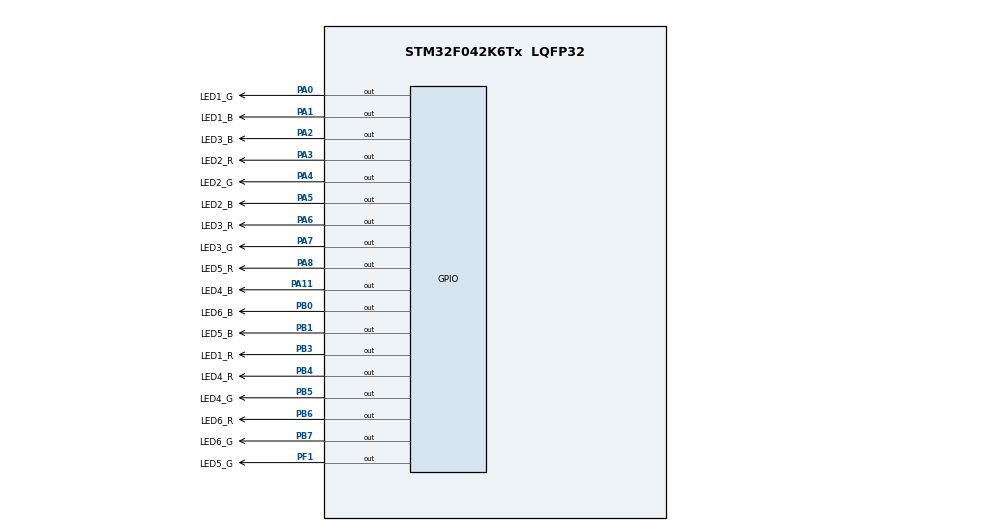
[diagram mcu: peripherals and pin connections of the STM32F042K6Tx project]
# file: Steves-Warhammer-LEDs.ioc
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Mcu.Family=STM32F0
Mcu.Name=STM32F042K6Tx
Mcu.Package=LQFP32
PA0.GPIO_Label=LED1_G
PA0.Signal=GPIO_Output
PA1.GPIO_Label=LED1_B
PA1.Signal=GPIO_Output
PA11.GPIO_Label=LED4_B
PA11.Signal=GPIO_Output
PA13.GPIO_Label=SWDIO
PA13.Signal=SYS_SWDIO
PA14.GPIO_Label=SWCLK
PA14.Signal=SYS_SWCLK
PA15.GPIO_Label=VCP_RX
PA15.Signal=USART2_RX
PA2.GPIO_Label=LED3_B
PA2.Signal=GPIO_Output
PA3.GPIO_Label=LED2_R
PA3.Signal=GPIO_Output
PA4.GPIO_Label=LED2_G
PA4.Signal=GPIO_Output
PA5.GPIO_Label=LED2_B
PA5.Signal=GPIO_Output
PA6.GPIO_Label=LED3_R
PA6.Signal=GPIO_Output
PA7.GPIO_Label=LED3_G
PA7.Signal=GPIO_Output
PA8.GPIO_Label=LED5_R
PA8.Signal=GPIO_Output
PB0.GPIO_Label=LED6_B
PB0.Signal=GPIO_Output
PB1.GPIO_Label=LED5_B
PB1.Signal=GPIO_Output
PB3.GPIO_Label=LED1_R
PB3.Signal=GPIO_Output
PB4.GPIO_Label=LED4_R
PB4.Signal=GPIO_Output
PB5.GPIO_Label=LED4_G
PB5.Signal=GPIO_Output
PB6.GPIO_Label=LED6_R
PB6.Signal=GPIO_Output
PB7.GPIO_Label=LED6_G
PB7.Signal=GPIO_Output
PF0-OSC_IN.GPIO_Label=MCO
PF0-OSC_IN.Signal=RCC_OSC_IN
PF1-OSC_OUT.GPIO_Label=LED5_G
PF1-OSC_OUT.Signal=GPIO_Output
ProjectManager.HeapSize=0x200
ProjectManager.StackSize=0x400
ProjectManager.TargetToolchain=MDK-ARM V5
board=NUCLEO-F042K6

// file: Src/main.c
/**
  ******************************************************************************
  * File Name          : main.c
  * Description        : Main program body
  ******************************************************************************
  ** This notice applies to any and all portions of this file
  * that are not between comment pairs USER CODE BEGIN and
  * USER CODE END. Other portions of this file, whether
  * inserted by the user or by software development tools
  * are owned by their respective copyright owners.
  *
  * COPYRIGHT(c) 2019 STMicroelectronics
  *
  * Redistribution and use in source and binary forms, with or without modification,
  * are permitted provided that the following conditions are met:
  *   1. Redistributions of source code must retain the above copyright notice,
  *      this list of conditions and the following disclaimer.
  *   2. Redistributions in binary form must reproduce the above copyright notice,
  *      this list of conditions and the following disclaimer in the documentation
  *      and/or other materials provided with the distribution.
  *   3. Neither the name of STMicroelectronics nor the names of its contributors
  *      may be used to endorse or promote products derived from this software
  *      without specific prior written permission.
  *
  * THIS SOFTWARE IS PROVIDED BY THE COPYRIGHT HOLDERS AND CONTRIBUTORS "AS IS"
  * AND ANY EXPRESS OR IMPLIED WARRANTIES, INCLUDING, BUT NOT LIMITED TO, THE
  * IMPLIED WARRANTIES OF MERCHANTABILITY AND FITNESS FOR A PARTICULAR PURPOSE ARE
  * DISCLAIMED. IN NO EVENT SHALL THE COPYRIGHT HOLDER OR CONTRIBUTORS BE LIABLE
  * FOR ANY DIRECT, INDIRECT, INCIDENTAL, SPECIAL, EXEMPLARY, OR CONSEQUENTIAL
  * DAMAGES (INCLUDING, BUT NOT LIMITED TO, PROCUREMENT OF SUBSTITUTE GOODS OR
  * SERVICES; LOSS OF USE, DATA, OR PROFITS; OR BUSINESS INTERRUPTION) HOWEVER
  * CAUSED AND ON ANY THEORY OF LIABILITY, WHETHER IN CONTRACT, STRICT LIABILITY,
  * OR TORT (INCLUDING NEGLIGENCE OR OTHERWISE) ARISING IN ANY WAY OUT OF THE USE
  * OF THIS SOFTWARE, EVEN IF ADVISED OF THE POSSIBILITY OF SUCH DAMAGE.
  *
  ******************************************************************************
  */
#include "main.h"
#include "stm32f0xx_hal.h"
#include "gpio.h"

/* USER CODE BEGIN Includes */
#include <stdlib.h>
#include <string.h>
#include <time.h>

/* USER CODE END Includes */

/* USER CODE BEGIN PV */
/* Private variables ---------------------------------------------------------*/
#define PERIOD_MIN 100			// minimum period in milliseconds
#define PERIOD_MAX 600			// maximum period in milliseconds

uint32_t tickNow;						// global access to tick count

typedef enum stateLed1
{
	LED1_R,
	LED1_G,
	LED1_B
} stateLed1_t;
stateLed1_t stateLed1 = LED1_R;

typedef enum stateLed2
{
	LED2_R,
	LED2_G,
	LED2_B
} stateLed2_t;
stateLed2_t stateLed2 = LED2_R;

typedef enum stateLed3
{
	LED3_R,
	LED3_G,
	LED3_B
} stateLed3_t;
stateLed3_t stateLed3 = LED3_R;

typedef enum stateLed4
{
	LED4_R,
	LED4_G,
	LED4_B
} stateLed4_t;
stateLed4_t stateLed4 = LED4_R;

typedef enum stateLed5
{
	LED5_R,
	LED5_G,
	LED5_B
} stateLed5_t;
stateLed5_t stateLed5 = LED5_R;

typedef enum stateLed6
{
	LED6_R,
	LED6_G,
	LED6_B
} stateLed6_t;
stateLed6_t stateLed6 = LED6_R;

/* USER CODE END PV */

void SystemClock_Config(void);

/* USER CODE BEGIN PFP */
/* Private function prototypes -----------------------------------------------*/
uint32_t GenerateRandomNumber(void);
void led1Handler(void);
void led2Handler(void);
void led3Handler(void);
void led4Handler(void);
void led5Handler(void);
void led6Handler(void);

/* USER CODE END PFP */

int main(void)
{

  /* MCU Configuration----------------------------------------------------------*/

  /* Reset of all peripherals, Initializes the Flash interface and the Systick. */
  HAL_Init();

  /* Configure the system clock */
  SystemClock_Config();

  /* Initialize all configured peripherals */
  MX_GPIO_Init();

  /* USER CODE BEGIN 2 */
	srand(10); // randomize seed

  /* USER CODE END 2 */

  /* Infinite loop */
  /* USER CODE BEGIN WHILE */
  while (1)
  {
		// get the tick count
		tickNow = HAL_GetTick();
		// service LED 1 state machine
		led1Handler();
		led2Handler();
		led3Handler();
		led4Handler();
		led5Handler();
		led6Handler();

  /* USER CODE END WHILE */

  }

}

/** System Clock Configuration
*/
void SystemClock_Config(void)
{

  RCC_OscInitTypeDef RCC_OscInitStruct;
  RCC_ClkInitTypeDef RCC_ClkInitStruct;

    /**Initializes the CPU, AHB and APB busses clocks
    */
  RCC_OscInitStruct.OscillatorType = RCC_OSCILLATORTYPE_HSI;
  RCC_OscInitStruct.HSIState = RCC_HSI_ON;
  RCC_OscInitStruct.HSICalibrationValue = 16;
  RCC_OscInitStruct.PLL.PLLState = RCC_PLL_NONE;
  if (HAL_RCC_OscConfig(&RCC_OscInitStruct) != HAL_OK)
  {
    _Error_Handler(__FILE__, __LINE__);
  }

    /**Initializes the CPU, AHB and APB busses clocks
    */
  RCC_ClkInitStruct.ClockType = RCC_CLOCKTYPE_HCLK|RCC_CLOCKTYPE_SYSCLK
                              |RCC_CLOCKTYPE_PCLK1;
  RCC_ClkInitStruct.SYSCLKSource = RCC_SYSCLKSOURCE_HSI;
  RCC_ClkInitStruct.AHBCLKDivider = RCC_SYSCLK_DIV1;
  RCC_ClkInitStruct.APB1CLKDivider = RCC_HCLK_DIV1;

  if (HAL_RCC_ClockConfig(&RCC_ClkInitStruct, FLASH_LATENCY_0) != HAL_OK)
  {
    _Error_Handler(__FILE__, __LINE__);
  }

    /**Configure the Systick interrupt time
    */
  HAL_SYSTICK_Config(HAL_RCC_GetHCLKFreq()/1000);

    /**Configure the Systick
    */
  HAL_SYSTICK_CLKSourceConfig(SYSTICK_CLKSOURCE_HCLK);

  /* SysTick_IRQn interrupt configuration */
  HAL_NVIC_SetPriority(SysTick_IRQn, 0, 0);
}

/* USER CODE BEGIN 4 */

// generates a pseudo-random number in the range PERIOD_MIN to PERIOD_MAX
uint32_t GenerateRandomNumber(void)
{
	// take a random number in the range 0 -> 0x7fffffff
	uint32_t x = rand();
	// convert to the desired scale
	x = (x / (RAND_MAX / (PERIOD_MAX - PERIOD_MIN))) + PERIOD_MIN;
	return x;
}
 // state handler for LED1
void led1Handler(void)
{
	switch(stateLed1)
		{
			static uint8_t frist = 0;					// first pass flag
			static uint32_t tickWas = 0;			// sysTick at the last transition
			static uint32_t period = 0;				// random period

			case LED1_R:
			{
				// if this is the first pass through this state
				if(frist)
				{
					period = GenerateRandomNumber();
					HAL_GPIO_WritePin(LED1_R_GPIO_Port, LED1_R_Pin, GPIO_PIN_SET);
					tickWas = tickNow;
					frist = 0;
				}
				// otherwise wait until the assigned random period has elapsed and decide which colour is next
				if((tickNow - tickWas) > period)
				{
					HAL_GPIO_WritePin(LED1_R_GPIO_Port, LED1_R_Pin, GPIO_PIN_RESET);
					if(period < 550)
					{
						stateLed1 = LED1_G;
						frist = 1;
					}
					else
					{
						stateLed1 = LED1_B;
						frist = 1;
					}
				}
			break;
			}

			case LED1_G:
			{
				// if this is the first pass through this state
				if(frist)
				{
					period = GenerateRandomNumber();
					HAL_GPIO_WritePin(LED1_G_GPIO_Port, LED1_G_Pin, GPIO_PIN_SET);
					tickWas = tickNow;
					frist = 0;
				}
				// otherwise wait until the assigned random period has elapsed and decide which colour is next
				if((tickNow - tickWas) > period)
				{
					HAL_GPIO_WritePin(LED1_G_GPIO_Port, LED1_G_Pin, GPIO_PIN_RESET);
					if(period < 550)
					{
						stateLed1 = LED1_R;
						frist = 1;
					}
					else
					{
						stateLed1 = LED1_B;
						frist = 1;
					}
				}
				break;

			}
			case LED1_B:
			{
				// if this is the first pass through this state
				if(frist)
				{
					period = GenerateRandomNumber();
					HAL_GPIO_WritePin(LED1_B_GPIO_Port, LED1_B_Pin, GPIO_PIN_SET);
					tickWas = tickNow;
					frist = 0;
				}
				// otherwise wait until the assigned random period has elapsed and decide which colour is next
				if((tickNow - tickWas) > period)
				{
					HAL_GPIO_WritePin(LED1_B_GPIO_Port, LED1_B_Pin, GPIO_PIN_RESET);
					if(period < 550)
					{
						stateLed1 = LED1_R;
						frist = 1;
					}
					else
					{
						stateLed1 = LED1_G;
						frist = 1;
					}
				}
				break;
			}

			default:
			{
				while(1);
			}
		}
}

void led2Handler(void)
{
	switch(stateLed2)
		{
			static uint8_t frist = 0;					// first pass flag
			static uint32_t tickWas = 0;			// sysTick at the last transition
			static uint32_t period = 0;				// random period

			case LED2_R:
			{
				// if this is the first pass through this state
				if(frist)
				{
					period = GenerateRandomNumber();
					HAL_GPIO_WritePin(LED2_R_GPIO_Port, LED2_R_Pin, GPIO_PIN_SET);
					tickWas = tickNow;
					frist = 0;
				}
				// otherwise wait until the assigned random period has elapsed and decide which colour is next
				if((tickNow - tickWas) > period)
				{
					HAL_GPIO_WritePin(LED2_R_GPIO_Port, LED2_R_Pin, GPIO_PIN_RESET);
					if(period < 550)
					{
						stateLed2 = LED2_G;
						frist = 1;
					}
					else
					{
						stateLed2 = LED2_B;
						frist = 1;
					}
				}
			break;
			}

			case LED2_G:
			{
				// if this is the first pass through this state
				if(frist)
				{
					period = GenerateRandomNumber();
					HAL_GPIO_WritePin(LED2_G_GPIO_Port, LED2_G_Pin, GPIO_PIN_SET);
					tickWas = tickNow;
					frist = 0;
				}
				// otherwise wait until the assigned random period has elapsed and decide which colour is next
				if((tickNow - tickWas) > period)
				{
					HAL_GPIO_WritePin(LED2_G_GPIO_Port, LED2_G_Pin, GPIO_PIN_RESET);
					if(period < 550)
					{
						stateLed2 = LED2_R;
						frist = 1;
					}
					else
					{
						stateLed2 = LED2_B;
						frist = 1;
					}
				}
				break;

			}
			case LED2_B:
			{
				// if this is the first pass through this state
				if(frist)
				{
					period = GenerateRandomNumber();
					HAL_GPIO_WritePin(LED2_B_GPIO_Port, LED2_B_Pin, GPIO_PIN_SET);
					tickWas = tickNow;
					frist = 0;
				}
				// otherwise wait until the assigned random period has elapsed and decide which colour is next
				if((tickNow - tickWas) > period)
				{
					HAL_GPIO_WritePin(LED2_B_GPIO_Port, LED2_B_Pin, GPIO_PIN_RESET);
					if(period < 550)
					{
						stateLed2 = LED2_R;
						frist = 1;
					}
					else
					{
						stateLed2 = LED2_G;
						frist = 1;
					}
				}
				break;
			}

			default:
			{
				while(1);
			}
		}
}

void led3Handler(void)
{
	switch(stateLed3)
		{
			static uint8_t frist = 0;					// first pass flag
			static uint32_t tickWas = 0;			// sysTick at the last transition
			static uint32_t period = 0;				// random period

			case LED3_R:
			{
				// if this is the first pass through this state
				if(frist)
				{
					period = GenerateRandomNumber();
					HAL_GPIO_WritePin(LED3_R_GPIO_Port, LED3_R_Pin, GPIO_PIN_SET);
					tickWas = tickNow;
					frist = 0;
				}
				// otherwise wait until the assigned random period has elapsed and decide which colour is next
				if((tickNow - tickWas) > period)
				{
					HAL_GPIO_WritePin(LED3_R_GPIO_Port, LED3_R_Pin, GPIO_PIN_RESET);
					if(period < 550)
					{
						stateLed3 = LED3_G;
						frist = 1;
					}
					else
					{
						stateLed3 = LED3_B;
						frist = 1;
					}
				}
			break;
			}

			case LED3_G:
			{
				// if this is the first pass through this state
				if(frist)
				{
					period = GenerateRandomNumber();
					HAL_GPIO_WritePin(LED3_G_GPIO_Port, LED3_G_Pin, GPIO_PIN_SET);
					tickWas = tickNow;
					frist = 0;
				}
				// otherwise wait until the assigned random period has elapsed and decide which colour is next
				if((tickNow - tickWas) > period)
				{
					HAL_GPIO_WritePin(LED3_G_GPIO_Port, LED3_G_Pin, GPIO_PIN_RESET);
					if(period < 550)
					{
						stateLed3 = LED3_R;
						frist = 1;
					}
					else
					{
						stateLed3 = LED3_B;
						frist = 1;
					}
				}
				break;

			}
			case LED3_B:
			{
				// if this is the first pass through this state
				if(frist)
				{
					period = GenerateRandomNumber();
					HAL_GPIO_WritePin(LED3_B_GPIO_Port, LED3_B_Pin, GPIO_PIN_SET);
					tickWas = tickNow;
					frist = 0;
				}
				// otherwise wait until the assigned random period has elapsed and decide which colour is next
				if((tickNow - tickWas) > period)
				{
					HAL_GPIO_WritePin(LED3_B_GPIO_Port, LED3_B_Pin, GPIO_PIN_RESET);
					if(period < 550)
					{
						stateLed3 = LED3_R;
						frist = 1;
					}
					else
					{
						stateLed3 = LED3_G;
						frist = 1;
					}
				}
				break;
			}

			default:
			{
				while(1);
			}
		}
}

void led4Handler(void)
{
	switch(stateLed4)
		{
			static uint8_t frist = 0;					// first pass flag
			static uint32_t tickWas = 0;			// sysTick at the last transition
			static uint32_t period = 0;				// random period

			case LED4_R:
			{
				// if this is the first pass through this state
				if(frist)
				{
					period = GenerateRandomNumber();
					HAL_GPIO_WritePin(LED4_R_GPIO_Port, LED4_R_Pin, GPIO_PIN_SET);
					tickWas = tickNow;
					frist = 0;
				}
				// otherwise wait until the assigned random period has elapsed and decide which colour is next
				if((tickNow - tickWas) > period)
				{
					HAL_GPIO_WritePin(LED4_R_GPIO_Port, LED4_R_Pin, GPIO_PIN_RESET);
					if(period < 550)
					{
						stateLed4 = LED4_G;
						frist = 1;
					}
					else
					{
						stateLed4 = LED4_B;
						frist = 1;
					}
				}
			break;
			}

			case LED4_G:
			{
				// if this is the first pass through this state
				if(frist)
				{
					period = GenerateRandomNumber();
					HAL_GPIO_WritePin(LED4_G_GPIO_Port, LED4_G_Pin, GPIO_PIN_SET);
					tickWas = tickNow;
					frist = 0;
				}
				// otherwise wait until the assigned random period has elapsed and decide which colour is next
				if((tickNow - tickWas) > period)
				{
					HAL_GPIO_WritePin(LED4_G_GPIO_Port, LED4_G_Pin, GPIO_PIN_RESET);
					if(period < 550)
					{
						stateLed4 = LED4_R;
						frist = 1;
					}
					else
					{
						stateLed4 = LED4_B;
						frist = 1;
					}
				}
				break;

			}
			case LED4_B:
			{
				// if this is the first pass through this state
				if(frist)
				{
					period = GenerateRandomNumber();
					HAL_GPIO_WritePin(LED4_B_GPIO_Port, LED4_B_Pin, GPIO_PIN_SET);
					tickWas = tickNow;
					frist = 0;
				}
				// otherwise wait until the assigned random period has elapsed and decide which colour is next
				if((tickNow - tickWas) > period)
				{
					HAL_GPIO_WritePin(LED4_B_GPIO_Port, LED4_B_Pin, GPIO_PIN_RESET);
					if(period < 550)
					{
						stateLed4 = LED4_R;
						frist = 1;
					}
					else
					{
						stateLed4 = LED4_G;
						frist = 1;
					}
				}
				break;
			}

			default:
			{
				while(1);
			}
		}
}

void led5Handler(void)
{
	switch(stateLed5)
		{
			static uint8_t frist = 0;					// first pass flag
			static uint32_t tickWas = 0;			// sysTick at the last transition
			static uint32_t period = 0;				// random period

			case LED5_R:
			{
				// if this is the first pass through this state
				if(frist)
				{
					period = GenerateRandomNumber();
					HAL_GPIO_WritePin(LED5_R_GPIO_Port, LED5_R_Pin, GPIO_PIN_SET);
					tickWas = tickNow;
					frist = 0;
				}
				// otherwise wait until the assigned random period has elapsed and decide which colour is next
				if((tickNow - tickWas) > period)
				{
					HAL_GPIO_WritePin(LED5_R_GPIO_Port, LED5_R_Pin, GPIO_PIN_RESET);
					if(period < 550)
					{
						stateLed5 = LED5_G;
						frist = 1;
					}
					else
					{
						stateLed5 = LED5_B;
						frist = 1;
					}
				}
			break;
			}

			case LED5_G:
			{
				// if this is the first pass through this state
				if(frist)
				{
					period = GenerateRandomNumber();
					HAL_GPIO_WritePin(LED5_G_GPIO_Port, LED5_G_Pin, GPIO_PIN_SET);
					tickWas = tickNow;
					frist = 0;
				}
				// otherwise wait until the assigned random period has elapsed and decide which colour is next
				if((tickNow - tickWas) > period)
				{
					HAL_GPIO_WritePin(LED5_G_GPIO_Port, LED5_G_Pin, GPIO_PIN_RESET);
					if(period < 550)
					{
						stateLed5 = LED5_R;
						frist = 1;
					}
					else
					{
						stateLed5 = LED5_B;
						frist = 1;
					}
				}
				break;

			}
			case LED5_B:
			{
				// if this is the first pass through this state
				if(frist)
				{
					period = GenerateRandomNumber();
					HAL_GPIO_WritePin(LED5_B_GPIO_Port, LED5_B_Pin, GPIO_PIN_SET);
					tickWas = tickNow;
					frist = 0;
				}
				// otherwise wait until the assigned random period has elapsed and decide which colour is next
				if((tickNow - tickWas) > period)
				{
					HAL_GPIO_WritePin(LED5_B_GPIO_Port, LED5_B_Pin, GPIO_PIN_RESET);
					if(period < 550)
					{
						stateLed5 = LED5_R;
						frist = 1;
					}
					else
					{
						stateLed5 = LED5_G;
						frist = 1;
					}
				}
				break;
			}

			default:
			{
				while(1);
			}
		}
}

void led6Handler(void)
{
	switch(stateLed6)
		{
			static uint8_t frist = 0;					// first pass flag
			static uint32_t tickWas = 0;			// sysTick at the last transition
			static uint32_t period = 0;				// random period

			case LED6_R:
			{
				// if this is the first pass through this state
				if(frist)
				{
					period = GenerateRandomNumber();
					HAL_GPIO_WritePin(LED6_R_GPIO_Port, LED6_R_Pin, GPIO_PIN_SET);
					tickWas = tickNow;
					frist = 0;
				}
				// otherwise wait until the assigned random period has elapsed and decide which colour is next
				if((tickNow - tickWas) > period)
				{
					HAL_GPIO_WritePin(LED6_R_GPIO_Port, LED6_R_Pin, GPIO_PIN_RESET);
					if(period < 550)
					{
						stateLed6 = LED6_G;
						frist = 1;
					}
					else
					{
						stateLed6 = LED6_B;
						frist = 1;
					}
				}
			break;
			}

			case LED6_G:
			{
				// if this is the first pass through this state
				if(frist)
				{
					period = GenerateRandomNumber();
					HAL_GPIO_WritePin(LED6_G_GPIO_Port, LED6_G_Pin, GPIO_PIN_SET);
					tickWas = tickNow;
					frist = 0;
				}
				// otherwise wait until the assigned random period has elapsed and decide which colour is next
				if((tickNow - tickWas) > period)
				{
					HAL_GPIO_WritePin(LED6_G_GPIO_Port, LED6_G_Pin, GPIO_PIN_RESET);
					if(period < 550)
					{
						stateLed6 = LED6_R;
						frist = 1;
					}
					else
					{
						stateLed6 = LED6_B;
						frist = 1;
					}
				}
				break;

			}
			case LED6_B:
			{
				// if this is the first pass through this state
				if(frist)
				{
					period = GenerateRandomNumber();
					HAL_GPIO_WritePin(LED6_B_GPIO_Port, LED6_B_Pin, GPIO_PIN_SET);
					tickWas = tickNow;
					frist = 0;
				}
				// otherwise wait until the assigned random period has elapsed and decide which colour is next
				if((tickNow - tickWas) > period)
				{
					HAL_GPIO_WritePin(LED6_B_GPIO_Port, LED6_B_Pin, GPIO_PIN_RESET);
					if(period < 550)
					{
						stateLed6 = LED6_R;
						frist = 1;
					}
					else
					{
						stateLed6 = LED6_G;
						frist = 1;
					}
				}
				break;
			}

			default:
			{
				while(1);
			}
		}
}

/* USER CODE END 4 */

void _Error_Handler(char * file, int line)
{
  while(1)
  {
  }
}

/************************ (C) COPYRIGHT STMicroelectronics *****END OF FILE****/
